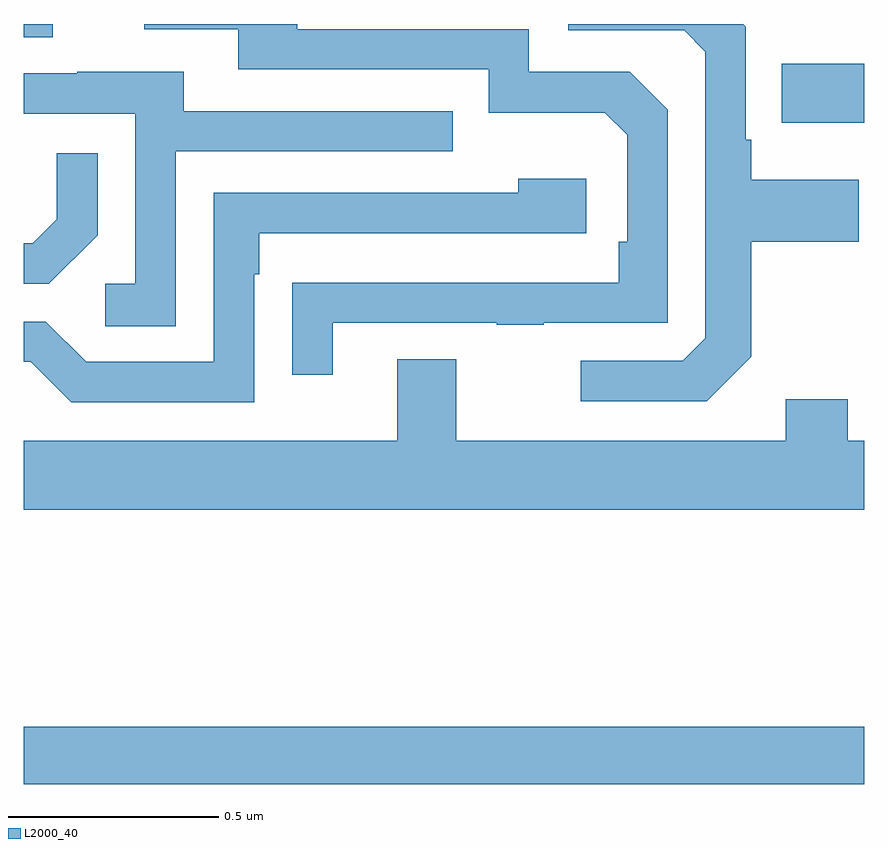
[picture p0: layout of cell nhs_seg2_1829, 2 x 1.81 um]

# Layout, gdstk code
import gdstk
lib = gdstk.Library(unit=1e-6, precision=1e-09)
def R(c, l, rs):  # rectangles x0, y0, x1, y1
    for r in rs: c.add(gdstk.rectangle(r[:2], r[2:], *l))
def P(c, l, *ps):  # polygons
    for p in ps: c.add(gdstk.Polygon(p, *l))
L2000_40 = (2000, 40)

nhs_seg2_1829 = lib.new_cell('nhs_seg2_1829')
R(nhs_seg2_1829, L2000_40, [(133,638.992,135,639.128), (134.803,640.565,135,640.705), (133,640.768,133.069,640.8)])
P(nhs_seg2_1829, L2000_40, [(134.731,640.009),(134.731,640.282),(134.987,640.282),(134.987,640.429),(134.731,640.429),(134.731,640.525),(134.718,640.525),(134.718,640.794),(134.712,640.8),(134.295,640.8),(134.295,640.785),(134.571,640.785),(134.622,640.734),(134.622,640.053),(134.568,639.999),(134.325,639.999),(134.325,639.903),(134.625,639.903)],
  [(133.735,640.089),(134.125,640.089),(134.125,640.084),(134.237,640.084),(134.237,640.089),(134.532,640.089),(134.532,640.596),(134.442,640.686),(134.202,640.686),(134.202,640.788),(133.651,640.788),(133.651,640.8),(133.287,640.8),(133.287,640.788),(133.511,640.788),(133.511,640.692),(134.106,640.692),(134.106,640.589),(134.383,640.589),(134.436,640.536),(134.436,640.282),(134.416,640.282),(134.416,640.185),(133.741,640.185),(133.741,640.184),(133.639,640.184),(133.639,639.966),(133.735,639.966)],
  [(133.362,640.497),(134.021,640.497),(134.021,640.593),(133.381,640.593),(133.381,640.687),(133.127,640.687),(133.127,640.683),(133,640.683),(133,640.587),(133.266,640.587),(133.266,640.182),(133.194,640.182),(133.194,640.081),(133.362,640.081)],
  [(133.176,640.298),(133.176,640.492),(133.079,640.492),(133.079,640.335),(133.022,640.278),(133,640.278),(133,640.182),(133.06,640.182)],
  [(133.548,640.205),(133.561,640.205),(133.561,640.302),(134.338,640.302),(134.338,640.432),(134.177,640.432),(134.177,640.398),(133.452,640.398),(133.452,639.996),(133.149,639.996),(133.053,640.092),(133,640.092),(133,639.996),(133.017,639.996),(133.113,639.9),(133.548,639.9)],
  [(135,639.808),(134.961,639.808),(134.961,639.907),(134.813,639.907),(134.813,639.808),(134.029,639.808),(134.029,640.003),(133.889,640.003),(133.889,639.808),(133,639.808),(133,639.644),(135,639.644)])

lib.write_gds('nhs_seg2_1829.gds')
